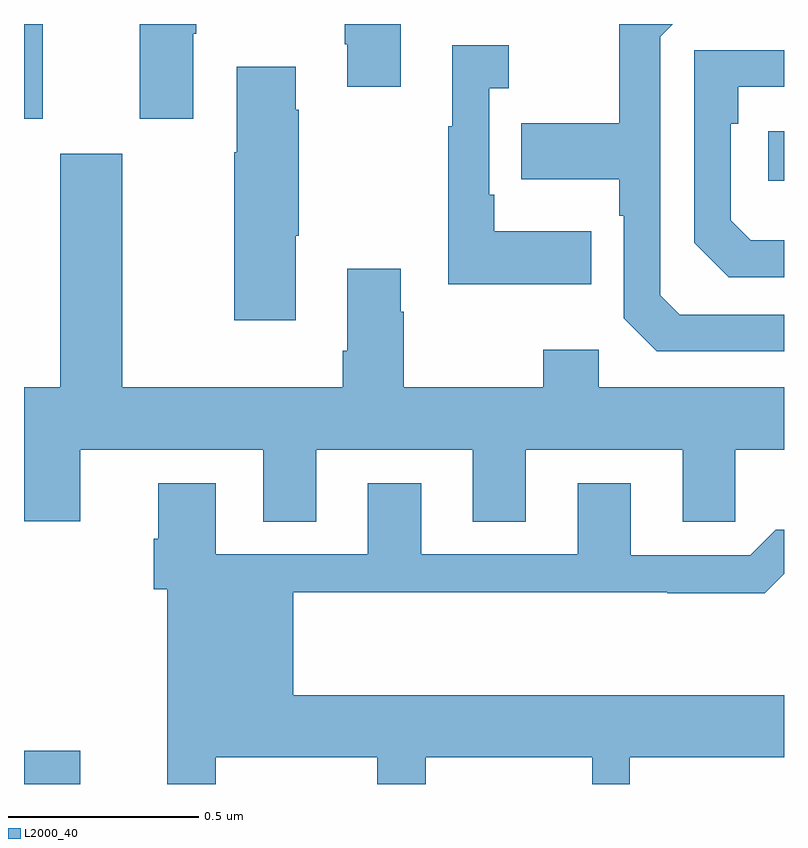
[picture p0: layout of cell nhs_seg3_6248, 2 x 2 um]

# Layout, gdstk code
import gdstk
lib = gdstk.Library(unit=1e-6, precision=1e-09)
def R(c, l, rs):  # rectangles x0, y0, x1, y1
    for r in rs: c.add(gdstk.rectangle(r[:2], r[2:], *l))
def P(c, l, *ps):  # polygons
    for p in ps: c.add(gdstk.Polygon(p, *l))
L2000_40 = (2000, 40)

nhs_seg3_6248 = lib.new_cell('nhs_seg3_6248')
R(nhs_seg3_6248, L2000_40, [(189,669.4,189.148,669.487), (190.959,670.988,191,671.118), (189,671.151,189.049,671.4)])
P(nhs_seg3_6248, L2000_40, [(189.305,671.151),(189.445,671.151),(189.445,671.374),(189.453,671.374),(189.453,671.4),(189.305,671.4)],
  [(191,670.635),(190.725,670.635),(190.674,670.686),(190.674,671.367),(190.707,671.4),(190.566,671.4),(190.566,671.139),(190.309,671.139),(190.309,670.991),(190.566,670.991),(190.566,670.895),(190.578,670.895),(190.578,670.626),(190.665,670.539),(191,670.539)],
  [(189.991,671.4),(189.844,671.4),(189.844,671.347),(189.851,671.347),(189.851,671.235),(189.991,671.235)],
  [(190.493,670.855),(190.237,670.855),(190.237,670.951),(190.224,670.951),(190.224,671.231),(190.276,671.231),(190.276,671.344),(190.127,671.344),(190.127,671.131),(190.116,671.131),(190.116,670.715),(190.493,670.715)],
  [(191,670.831),(190.913,670.831),(190.86,670.884),(190.86,671.138),(190.88,671.138),(190.88,671.235),(191,671.235),(191,671.331),(190.764,671.331),(190.764,670.824),(190.854,670.734),(191,670.734)],
  [(189.715,670.843),(189.723,670.843),(189.723,671.174),(189.715,671.174),(189.715,671.287),(189.56,671.287),(189.56,671.063),(189.553,671.063),(189.553,670.62),(189.715,670.62)],
  [(189.148,670.28),(189.629,670.28),(189.629,670.09),(189.769,670.09),(189.769,670.28),(190.181,670.28),(190.181,670.09),(190.321,670.09),(190.321,670.28),(190.733,670.28),(190.733,670.09),(190.872,670.09),(190.872,670.28),(191,670.28),(191,670.444),(190.512,670.444),(190.512,670.543),(190.366,670.543),(190.366,670.444),(189.999,670.444),(189.999,670.643),(189.991,670.643),(189.991,670.756),(189.851,670.756),(189.851,670.54),(189.839,670.54),(189.839,670.444),(189.259,670.444),(189.259,671.059),(189.095,671.059),(189.095,670.444),(189,670.444),(189,670.092),(189.148,670.092)],
  [(189.505,669.47),(189.929,669.47),(189.929,669.4),(190.057,669.4),(190.057,669.47),(190.496,669.47),(190.496,669.4),(190.594,669.4),(190.594,669.47),(191,669.47),(191,669.634),(189.709,669.634),(189.709,669.904),(190.693,669.904),(190.693,669.902),(190.949,669.902),(191,669.953),(191,670.069),(190.978,670.069),(190.911,670.002),(190.597,670.002),(190.597,670.192),(190.457,670.192),(190.457,670.005),(190.045,670.005),(190.045,670.192),(189.905,670.192),(189.905,670.005),(189.505,670.005),(189.505,670.192),(189.353,670.192),(189.353,670.046),(189.341,670.046),(189.341,669.912),(189.377,669.912),(189.377,669.4),(189.505,669.4)])

lib.write_gds('nhs_seg3_6248.gds')
